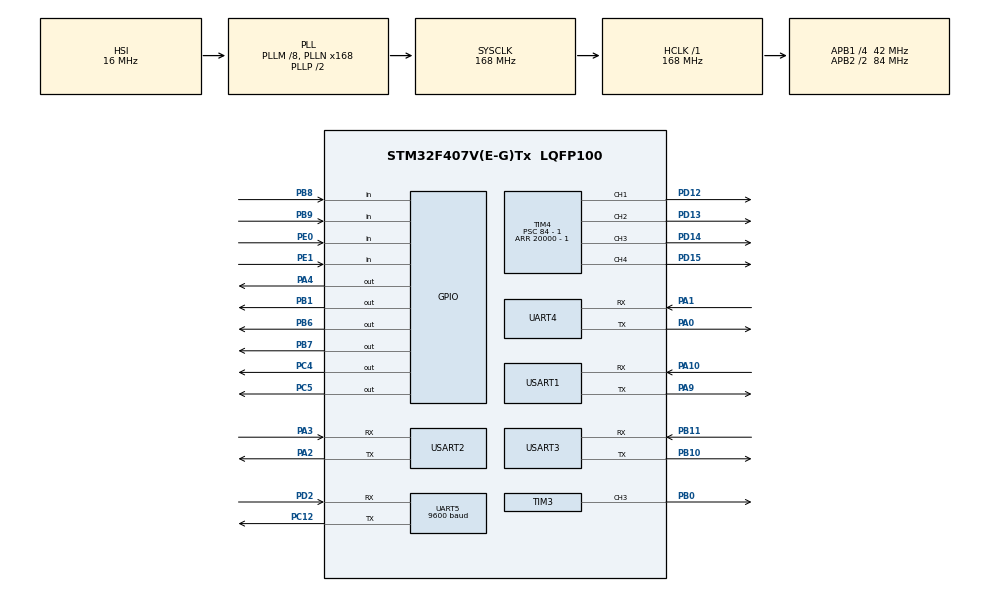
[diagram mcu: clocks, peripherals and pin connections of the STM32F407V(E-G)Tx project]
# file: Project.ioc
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Mcu.Family=STM32F4
Mcu.Name=STM32F407V(E-G)Tx
Mcu.Package=LQFP100
NVIC.PriorityGroup=NVIC_PRIORITYGROUP_4
NVIC.UART4_IRQn=true\:0\:0\:false\:false\:true\:true\:true
NVIC.UART5_IRQn=true\:0\:0\:false\:false\:true\:true\:true
NVIC.USART1_IRQn=true\:0\:0\:false\:false\:true\:true\:true
NVIC.USART2_IRQn=true\:0\:0\:false\:false\:true\:true\:true
NVIC.USART3_IRQn=true\:0\:0\:false\:false\:true\:true\:true
PA0-WKUP.Mode=Asynchronous
PA0-WKUP.Signal=UART4_TX
PA1.Mode=Asynchronous
PA1.Signal=UART4_RX
PA10.Mode=Asynchronous
PA10.Signal=USART1_RX
PA13.Mode=Serial_Wire
PA13.Signal=SYS_JTMS-SWDIO
PA14.Mode=Serial_Wire
PA14.Signal=SYS_JTCK-SWCLK
PA2.Mode=Asynchronous
PA2.Signal=USART2_TX
PA3.Mode=Asynchronous
PA3.Signal=USART2_RX
PA4.GPIO_Speed=GPIO_SPEED_FREQ_HIGH
PA4.Signal=GPIO_Output
PA9.Mode=Asynchronous
PA9.Signal=USART1_TX
PB0.Signal=S_TIM3_CH3
PB1.GPIO_Speed=GPIO_SPEED_FREQ_HIGH
PB1.Signal=GPIO_Output
PB10.Mode=Asynchronous
PB10.Signal=USART3_TX
PB11.Mode=Asynchronous
PB11.Signal=USART3_RX
PB6.GPIO_ModeDefaultOutputPP=GPIO_MODE_OUTPUT_OD
PB6.GPIO_Speed=GPIO_SPEED_FREQ_HIGH
PB6.PinState=GPIO_PIN_SET
PB6.Signal=GPIO_Output
PB7.GPIO_ModeDefaultOutputPP=GPIO_MODE_OUTPUT_OD
PB7.GPIO_Speed=GPIO_SPEED_FREQ_HIGH
PB7.PinState=GPIO_PIN_SET
PB7.Signal=GPIO_Output
PB8.GPIO_Mode=GPIO_MODE_INPUT
PB8.GPIO_PuPd=GPIO_PULLUP
PB8.Signal=GPIO_Input
PB9.GPIO_Mode=GPIO_MODE_INPUT
PB9.GPIO_PuPd=GPIO_PULLUP
PB9.Signal=GPIO_Input
PC12.Mode=Asynchronous
PC12.Signal=UART5_TX
PC4.GPIO_ModeDefaultOutputPP=GPIO_MODE_OUTPUT_PP
PC4.GPIO_PuPd=GPIO_NOPULL
PC4.GPIO_Speed=GPIO_SPEED_FREQ_HIGH
PC4.PinState=GPIO_PIN_RESET
PC4.Signal=GPIO_Output
PC5.GPIO_ModeDefaultOutputPP=GPIO_MODE_OUTPUT_PP
PC5.GPIO_PuPd=GPIO_NOPULL
PC5.GPIO_Speed=GPIO_SPEED_FREQ_HIGH
PC5.PinState=GPIO_PIN_RESET
PC5.Signal=GPIO_Output
PD12.Signal=S_TIM4_CH1
PD13.Signal=S_TIM4_CH2
PD14.Signal=S_TIM4_CH3
PD15.Signal=S_TIM4_CH4
PD2.Mode=Asynchronous
PD2.Signal=UART5_RX
PE0.GPIO_Mode=GPIO_MODE_INPUT
PE0.GPIO_PuPd=GPIO_PULLUP
PE0.Signal=GPIO_Input
PE1.GPIO_Mode=GPIO_MODE_INPUT
PE1.GPIO_PuPd=GPIO_PULLUP
PE1.Signal=GPIO_Input
PH0-OSC_IN.Mode=HSE-External-Oscillator
PH0-OSC_IN.Signal=RCC_OSC_IN
PH1-OSC_OUT.Mode=HSE-External-Oscillator
PH1-OSC_OUT.Signal=RCC_OSC_OUT
ProjectManager.HeapSize=0x200
ProjectManager.StackSize=0x400
ProjectManager.TargetToolchain=MDK-ARM V5.32
RCC.48MHZClocksFreq_Value=84000000
RCC.AHBFreq_Value=168000000
RCC.APB1CLKDivider=RCC_HCLK_DIV4
RCC.APB1Freq_Value=42000000
RCC.APB1TimFreq_Value=84000000
RCC.APB2CLKDivider=RCC_HCLK_DIV2
RCC.APB2Freq_Value=84000000
RCC.APB2TimFreq_Value=168000000
RCC.CortexFreq_Value=168000000
RCC.HCLKFreq_Value=168000000
RCC.HSE_VALUE=8000000
RCC.HSI_VALUE=16000000
RCC.LSE_VALUE=32768
RCC.PLLM=8
RCC.PLLN=168
RCC.SYSCLKFreq_VALUE=168000000
RCC.SYSCLKSource=RCC_SYSCLKSOURCE_PLLCLK
RCC.VCOOutputFreq_Value=336000000
SH.S_TIM3_CH3.0=TIM3_CH3,PWM Generation3 CH3
SH.S_TIM4_CH1.0=TIM4_CH1,PWM Generation1 CH1
SH.S_TIM4_CH2.0=TIM4_CH2,PWM Generation2 CH2
SH.S_TIM4_CH3.0=TIM4_CH3,PWM Generation3 CH3
SH.S_TIM4_CH4.0=TIM4_CH4,PWM Generation4 CH4
TIM3.AutoReloadPreload=TIM_AUTORELOAD_PRELOAD_ENABLE
TIM3.Channel-PWM\ Generation3\ CH3=TIM_CHANNEL_3
TIM3.Period=100 - 1
TIM3.Prescaler=42 - 1
TIM4.AutoReloadPreload=TIM_AUTORELOAD_PRELOAD_ENABLE
TIM4.Channel-PWM\ Generation1\ CH1=TIM_CHANNEL_1
TIM4.Channel-PWM\ Generation2\ CH2=TIM_CHANNEL_2
TIM4.Channel-PWM\ Generation3\ CH3=TIM_CHANNEL_3
TIM4.Channel-PWM\ Generation4\ CH4=TIM_CHANNEL_4
TIM4.Period=20000 - 1
TIM4.Prescaler=84 - 1
UART4.VirtualMode=Asynchronous
UART5.BaudRate=9600
UART5.VirtualMode=Asynchronous
USART1.VirtualMode=VM_ASYNC
USART2.VirtualMode=VM_ASYNC
USART3.VirtualMode=VM_ASYNC
VP_TIM3_VS_ClockSourceINT.Mode=Internal
VP_TIM4_VS_ClockSourceINT.Mode=Internal
board=custom

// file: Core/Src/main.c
/* USER CODE BEGIN Header */
/**
  ******************************************************************************
  * @file           : main.c
  * @brief          : Main program body
  ******************************************************************************
  * @attention
  *
  * <h2><center>&copy; Copyright (c) 2024 STMicroelectronics.
  * All rights reserved.</center></h2>
  *
  * This software component is licensed by ST under BSD 3-Clause license,
  * the "License"; You may not use this file except in compliance with the
  * License. You may obtain a copy of the License at:
  *                        opensource.org/licenses/BSD-3-Clause
  *
  ******************************************************************************
  */
/* USER CODE END Header */
#include "main.h"
#include "tim.h"
#include "usart.h"
#include "gpio.h"

/* USER CODE BEGIN Includes */

#include "delay.h"
#include "Emm_V5.h"
#include "Servo.h"
#include "key.h"
#include "motor.h"
#include "position.h"
#include "OLED.h"
#include "pump.h"
#include "Servo.h"

/* USER CODE END Includes */

void SystemClock_Config(void);
/* USER CODE BEGIN PFP */

void OLED_Showcolor(uint8_t colorflag1, uint8_t colorflag2);

/* USER CODE END PFP */

/* USER CODE BEGIN 0 */

uint8_t KeyNum;

//int8_t Speed;		//拧瓶盖电机速度，可设置正反转，范围 -100~100
__IO uint16_t Emm_speed = 1000;		//42步进电机运行速度，定位电机（即X,Y,Z轴电机）
__IO uint8_t Emm_Z_acc = 100;		//Z轴定位电机加速度
__IO uint8_t Emm_X_acc = 255;		//X轴定位电机加速度
__IO uint8_t Emm_Y_acc = 255;		//Y轴定位电机加速度

/*openmv*/
__IO float openmv_x, openmv_y;			//openmv坐标数据
__IO uint8_t openmv_colourflag_plate;	//openmv颜色标志位，1 red; 2 green; 3 blue，显示在oled上
__IO uint8_t openmv_colourflag_bottle;	//openmv颜色标志位，1 red; 2 green; 3 blue，显示在oled上
__IO uint8_t openmv_statusflag;			//openmv状态标志位，1 药板; 2 药瓶; 3 拧瓶盖; #未使用#4 不行动，只能由中断打断
__IO uint8_t openmv_quadrantflag;		//openmv象限标志位，1 第一象限; 2 第二象限; 3 第三象限; 4 第四象限
uint8_t send_statusdata[5] = {0xA1, 0xA2, 0, 0, 0xFE};		//发送给openmv的状态数据包
		//位2：返回给openmv的状态标志位，0 默认位; 1 到位准备抓取; 2 完成抓取; 3 开始识别色卡; #未使用#4 发送启动信号给主控单片机
		//位3：模式位（药板、药瓶 or 瓶盖），0 默认位; 1 药板; 2 药瓶; 3 瓶盖

/*托盘上各物品位置，药板、药瓶、托盘*/
__IO float plate_x = 24.681, plate_y = 5.872;				//药板位置，坐标信息为药板中心点位置
__IO float bottle_x = 28.672, bottle_y = 23.697;			//药瓶位置
__IO float cap_x = 15.059, cap_y = 23.581;					//瓶盖位置
__IO float tray_x = 11.292 + 1, tray_y = 12.495 - 3;		//托盘位置，坐标信息为托盘中心点位置
															//-1 +3是OpenMV plus，原OpenMV不需要加减

float err_x = -5.8, err_y = -0.45;					//视觉模块与气泵的偏移量
float plate_err_x = -4.0, plate_err_y = -2.0;		//药板中心与药板孔的偏移量
/* USER CODE END 0 */

int main(void)
{
  /* USER CODE BEGIN 1 */

	__IO uint8_t i = 0;
//	__IO uint8_t j = 0;
	__IO uint8_t times_plate = 0;
	__IO uint8_t times_bottle = 0;
	__IO uint8_t angle = 0;

  /* USER CODE END 1 */

  /* MCU Configuration--------------------------------------------------------*/

  /* Reset of all peripherals, Initializes the Flash interface and the Systick. */
  HAL_Init();

  /* Configure the system clock */
  SystemClock_Config();

  /* Initialize all configured peripherals */
  MX_GPIO_Init();
  MX_UART4_Init();
  MX_UART5_Init();
  MX_USART1_UART_Init();
  MX_USART2_UART_Init();
  MX_USART3_UART_Init();
  MX_TIM3_Init();
  MX_TIM4_Init();
  /* USER CODE BEGIN 2 */

  OLED_Init();
  delay_init(168);
  Servo_SetAngle(0, 3);

  /*延时等待3s初始化完成*/
//  delay_ms(3000);

//  XYZ_Return_Origin(2);		//初始化回零

  /* USER CODE END 2 */

  /* Infinite loop */
  while (1)
  {

    /* USER CODE BEGIN 3 */

	/*按键值*/
	KeyNum = key_num();

	i++;
	OLED_ShowNum(0, 0, i, 3, OLED_8X16);
	OLED_Update();

/*****************************************************************************************************/
	if(KeyNum == 1 || openmv_statusflag == 1)
	{
		send_statusdata[3] = 1;		//模式为药板
		HAL_UART_Transmit(&huart5, send_statusdata, 5, 50);

		/*******************************************************************************/
		OLED_ShowString(0, 16, "plate :", OLED_6X8);
		OLED_ShowNum(42, 16, KeyNum, 2, OLED_6X8);
		OLED_Update();

		Tray_position();	//定位托盘位置

		/*发送到位标志给视觉，让视觉启动识别*/
		send_statusdata[2] = 1;		//到位视觉识别
		HAL_UART_Transmit(&huart5, send_statusdata, 5, 50);
		delay_ms(5000);		//预留视觉检测时间

		/*******************************************************************************/
		/*显示视觉传输过来的药丸相对坐标数据*/
		OLED_ShowFloatNum(0, 24, openmv_x, 3, 3, OLED_6X8);
		OLED_ShowFloatNum(0, 32, openmv_y, 3, 3, OLED_6X8);
		OLED_Update();

		OLED_Showcolor(openmv_colourflag_plate, openmv_colourflag_bottle);		//显抓取药丸颜色

		/*******************************************************************************/

		/*发送抓取完成标志给视觉，让其停止识别*/
		send_statusdata[2] = 2;		//已完成抓取视觉可关闭
		HAL_UART_Transmit(&huart5, send_statusdata, 5, 50);

		/*开始定位药丸*/
		delay_ms(1000);
		X_Emm_V5_position(tray_x + openmv_x + err_x, Emm_speed);
		Y_Emm_V5_position(tray_y + openmv_y + err_y, Emm_speed);
		while(x_arrive_check() == false || y_arrive_check() == false);

		Z_Emm_V5_position(1.55, Emm_speed);
		while(z_arrive_check() == false);

		/*******************************************************************************/
		pump_control(1);
		valve_control(0);

		delay_ms(1000);		//预留气泵吸球稳定时间
		Z_Emm_V5_position(12, Emm_speed);
		while(z_arrive_check() == false);

		/*定位药板位置*/
		X_Emm_V5_position(plate_x + plate_err_x + err_x, Emm_speed);
		Y_Emm_V5_position(plate_y + plate_err_y + err_y, Emm_speed);
		while(x_arrive_check() == false || y_arrive_check() == false);

		Z_Emm_V5_position(2.4, Emm_speed);
		while(z_arrive_check() == false);

		/*******************************************************************************/
		Plate_HolePitch_position();		//药板孔偏移坐标计算

//		j ++;
//		if(j == 1)
//		{
//			plate_y = plate_y + 0.4f;
//		}
//		else if(j == 2)
//		{
//			plate_y = plate_y + 0.4f;
//		}
//		else if(j == 3)
//		{
//			plate_y = plate_y - 0.8f;
//			plate_x = plate_x + 0.4f;
//		}
//		else if(j == 4)
//		{
//			plate_y = plate_y + 0.4f;
//		}
//		else if(j == 5)
//		{
//			plate_y = plate_y + 0.4f;
//		}

		/*******************************************************************************/
		pump_control(0);
		valve_control(1);
		delay_ms(500);
		valve_control(0);		//电磁阀不能长时间打开，否则可能会发热严重

		/*******************************************************************************/
		times_plate++;			//抓取药丸到药板次数，即已抓取药丸到药板的个数
		OLED_ShowNum(66, 16, times_plate, 3, OLED_6X8);
		OLED_Update();

		if(times_plate == 6)
		{
			send_statusdata[3] = 2;		//模式转化为药瓶
			HAL_UART_Transmit(&huart5, send_statusdata, 5, 50);
		}

//		openmv_statusflag = 0;		//清零操作
	}

/*****************************************************************************************************/
	if(KeyNum == 2 || openmv_statusflag == 2)
	{
		send_statusdata[3] = 2;		//模式转化为药瓶
		HAL_UART_Transmit(&huart5, send_statusdata, 5, 50);

		/*******************************************************************************/
		OLED_ShowString(0, 16, "bottle:", OLED_6X8);
		OLED_ShowNum(42, 16, KeyNum, 2, OLED_6X8);
		OLED_Update();

		Tray_position();	//定位托盘位置

		/*发送到位标志给视觉，让视觉启动识别*/
		send_statusdata[2] = 1;		//到位视觉识别
		HAL_UART_Transmit(&huart5, send_statusdata, 5, 50);
		delay_ms(5000);		//预留视觉检测时间

		/*******************************************************************************/
		/*显示视觉传输过来的药丸相对坐标数据*/
		OLED_ShowFloatNum(0, 24, openmv_x, 3, 3, OLED_6X8);
		OLED_ShowFloatNum(0, 32, openmv_y, 3, 3, OLED_6X8);
		OLED_Update();

		OLED_Showcolor(openmv_colourflag_plate, openmv_colourflag_bottle);		//显抓取药丸颜色

		/*******************************************************************************/
		/*发送抓取完成标志给视觉，让其停止识别*/
		send_statusdata[2] = 2;		//已完成抓取视觉可关闭
		HAL_UART_Transmit(&huart5, send_statusdata, 5, 50);

		/*开始定位药丸*/
		X_Emm_V5_position(tray_x + openmv_x + err_x, Emm_speed);
		Y_Emm_V5_position(tray_y + openmv_y + err_y, Emm_speed);
		while(x_arrive_check() == false || y_arrive_check() == false);

		Z_Emm_V5_position(1.55, Emm_speed);
		while(z_arrive_check() == false);

		/*******************************************************************************/
		pump_control(1);
		valve_control(0);

		delay_ms(1000);		//预留气泵吸球稳定时间
		Z_Emm_V5_position(12, Emm_speed);
		while(z_arrive_check() == false);

		/*定位药瓶位置*/
		X_Emm_V5_position(bottle_x + err_x, Emm_speed);
		Y_Emm_V5_position(bottle_y + err_y, Emm_speed);
		while(x_arrive_check() == false || y_arrive_check() == false);

		Z_Emm_V5_position(7.55, Emm_speed);
		while(z_arrive_check() == false);

		/*******************************************************************************/
		pump_control(0);
		valve_control(1);
		delay_ms(500);
		valve_control(0);	//电磁阀不能长时间打开，否则可能会发热严重

		/*******************************************************************************/
		times_bottle++;		//抓取药丸到药瓶次数，即已抓取药丸到药瓶的次数
		OLED_ShowNum(90, 16, times_bottle, 3, OLED_6X8);
		OLED_Update();

		if(times_bottle == 6)
		{
			KeyNum = 3;
		}

//		openmv_statusflag = 0;
	}

/*****************************************************************************************************/
	if(KeyNum == 3 || openmv_statusflag == 3)
	{
		OLED_ShowString(0, 16, "cap   :", OLED_6X8);
		OLED_ShowNum(42, 16, KeyNum, 2, OLED_6X8);
		OLED_Update();

		/*******************************************************************************/
		Z_Emm_V5_position(12, Emm_speed);
		while(z_arrive_check() == false);

		/*定位瓶盖位置*/
		X_Emm_V5_position(cap_x + err_x, Emm_speed);
		Y_Emm_V5_position(cap_y + err_y, Emm_speed);
		while(x_arrive_check() == false || y_arrive_check() == false);

		Z_Emm_V5_position(1.3, Emm_speed);
		while(z_arrive_check() == false);

		/*******************************************************************************/
		pump_control(1);
		valve_control(0);

		/*******************************************************************************/
		delay_ms(1000);		//预留气泵吸瓶盖稳定时间
		Z_Emm_V5_position(12, Emm_speed);
		while(z_arrive_check() == false);

		/*定位药瓶位置*/
		X_Emm_V5_position(bottle_x + err_x, Emm_speed);
		Y_Emm_V5_position(bottle_y + err_y, Emm_speed);
		while(x_arrive_check() == false || y_arrive_check() == false);

		Z_Emm_V5_position(9, Emm_speed);
		while(z_arrive_check() == false);

		/*******************************************************************************/
		pump_control(0);
		valve_control(1);

		delay_ms(1000);
		Clamp_Emm_V5_position(10.35, 100, 30);		//位置，速度，加速度

		Z_Emm_V5_position(12, Emm_speed);
		while(z_arrive_check() == false);

		valve_control(0);	//电磁阀不能长时间打开，否则可能会发热严重

		/*******************************************************************************/
		/*这里可尝试直接回零*/
		OLED_ShowString(0, 16, "retrun:", OLED_6X8);
		OLED_ShowNum(42, 16, KeyNum, 2, OLED_6X8);
		OLED_Update();

		XYZ_Return_Origin(2);

		/*******************************************************************************/
//		Motor_SetSpeed(100);
//		delay_ms(1000);
		delay_ms(3000);
		Motor_SetSpeed(-100);
		delay_ms(3200);
		Motor_SetSpeed(0);
	}

/*****************************************************************************************************/
	if(KeyNum == 4)
	{
		OLED_ShowString(0, 16, "card  :", OLED_6X8);
		OLED_ShowNum(42, 16, KeyNum, 2, OLED_6X8);
		OLED_Update();

//		Z_Emm_V5_position(12, 500);
//		while(z_arrive_check() == false);
//
//		XYZ_Return_Origin(2);

		/*发送检测色卡标志位给视觉，让其启动色卡识别*/
		send_statusdata[2] = 3;		//识别色卡颜色
		HAL_UART_Transmit(&huart5, send_statusdata, 5, 50);

		send_statusdata[2] = 0;

		OLED_Showcolor(openmv_colourflag_plate, openmv_colourflag_bottle);		//显抓取药丸颜色

	}
  }
  /* USER CODE END 3 */
}

void SystemClock_Config(void)
{
  RCC_OscInitTypeDef RCC_OscInitStruct = {0};
  RCC_ClkInitTypeDef RCC_ClkInitStruct = {0};

  /** Configure the main internal regulator output voltage
  */
  __HAL_RCC_PWR_CLK_ENABLE();
  __HAL_PWR_VOLTAGESCALING_CONFIG(PWR_REGULATOR_VOLTAGE_SCALE1);
  /** Initializes the RCC Oscillators according to the specified parameters
  * in the RCC_OscInitTypeDef structure.
  */
  RCC_OscInitStruct.OscillatorType = RCC_OSCILLATORTYPE_HSI;
  RCC_OscInitStruct.HSIState = RCC_HSI_ON;
  RCC_OscInitStruct.HSICalibrationValue = RCC_HSICALIBRATION_DEFAULT;
  RCC_OscInitStruct.PLL.PLLState = RCC_PLL_ON;
  RCC_OscInitStruct.PLL.PLLSource = RCC_PLLSOURCE_HSI;
  RCC_OscInitStruct.PLL.PLLM = 8;
  RCC_OscInitStruct.PLL.PLLN = 168;
  RCC_OscInitStruct.PLL.PLLP = RCC_PLLP_DIV2;
  RCC_OscInitStruct.PLL.PLLQ = 4;
  if (HAL_RCC_OscConfig(&RCC_OscInitStruct) != HAL_OK)
  {
    Error_Handler();
  }
  /** Initializes the CPU, AHB and APB buses clocks
  */
  RCC_ClkInitStruct.ClockType = RCC_CLOCKTYPE_HCLK|RCC_CLOCKTYPE_SYSCLK
                              |RCC_CLOCKTYPE_PCLK1|RCC_CLOCKTYPE_PCLK2;
  RCC_ClkInitStruct.SYSCLKSource = RCC_SYSCLKSOURCE_PLLCLK;
  RCC_ClkInitStruct.AHBCLKDivider = RCC_SYSCLK_DIV1;
  RCC_ClkInitStruct.APB1CLKDivider = RCC_HCLK_DIV4;
  RCC_ClkInitStruct.APB2CLKDivider = RCC_HCLK_DIV2;

  if (HAL_RCC_ClockConfig(&RCC_ClkInitStruct, FLASH_LATENCY_5) != HAL_OK)
  {
    Error_Handler();
  }
}

/* USER CODE BEGIN 4 */

void OLED_Showcolor(uint8_t colorflag1, uint8_t colorflag2)
{
	if(colorflag1 == 1)
	{
		OLED_ShowString(0, 48, "plate:Red  ", OLED_6X8);
		OLED_Update();
	}
	else if(colorflag1 == 2)
	{
		OLED_ShowString(0, 48, "plate:Green", OLED_6X8);
		OLED_Update();
	}
	else if(colorflag1 == 3)
	{
		OLED_ShowString(0, 48, "plate:Bule ", OLED_6X8);
		OLED_Update();
	}

	if(colorflag2 == 1)
	{
		OLED_ShowString(0, 56, "bottle:Red  ", OLED_6X8);
		OLED_Update();
	}
	else if(colorflag2 == 2)
	{
		OLED_ShowString(0, 56, "bottle:Green", OLED_6X8);
		OLED_Update();
	}
	else if(colorflag2 == 3)
	{
		OLED_ShowString(0, 56, "bottle:Bule ", OLED_6X8);
		OLED_Update();
	}
}

/* USER CODE END 4 */

void Error_Handler(void)
{
  __disable_irq();
  while (1)
  {
  }
}

/************************ (C) COPYRIGHT STMicroelectronics *****END OF FILE****/
